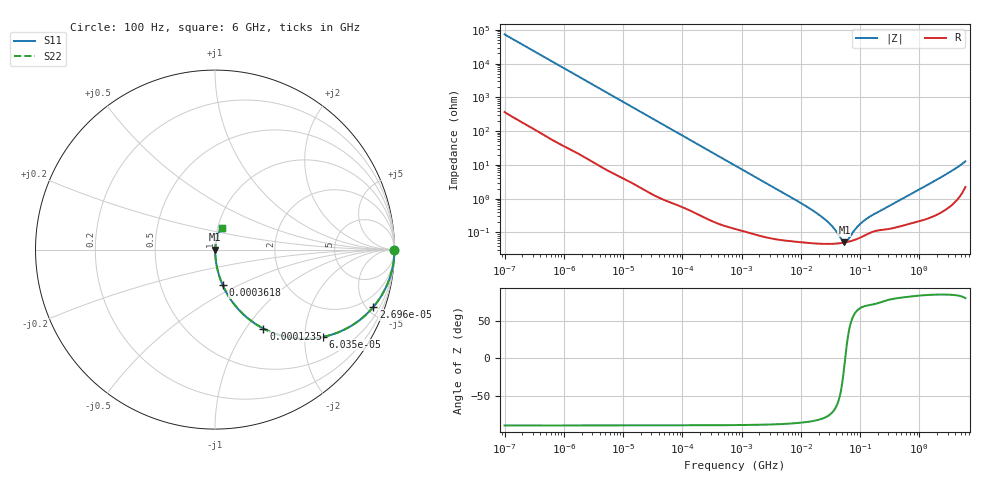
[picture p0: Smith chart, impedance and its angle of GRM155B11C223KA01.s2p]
!Murata Part Number: GRM155B11C223KA01
!These Parameters are Measured in Series Mode Connection
!Data Generated on Mar 30, 2021
!  o--ll--o
!Port1  Port2
!  o------o
!Operation Temp=25[degC], DC Bias Voltage=0[V]
!Freq. Start=100[Hz] Stop=6[GHz] 401[Steps]
# Hz S RI R 50
!Freq.(Hz) S11(Real) S11(Imag) S21(Real) S21(Imag) S12(Real) S12(Imag) S22(Real) S22(Imag)
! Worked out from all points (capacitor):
!   401 points, 100 Hz to 6 GHz, reference 50 ohm
!   read as one part in series: C = 21.8 nF near 109 Hz
!   lowest |Z| = 50.9 mohm at 54.5 MHz (marker M1)
!   series resonance near 56.17 MHz, so ESL is about 370 pH
!   S11 on the Smith chart (normalised r, x): 100 Hz: open; 26.96 kHz: 1.03, -5.52; 60.35 kHz: 1.02, -2.47; 123.5 kHz: 1.01, -1.21; 361.8 kHz: 1.00, -0.42; 6 GHz: 1.04, +0.25
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100  1 -0.00137  8.8e-06 0.00137  8.8e-06 0.00137  1 -0.00137
2008  0.9991 -0.0272  0.000881 0.0272  0.000881 0.0272  0.9991 -0.0272
8801  0.9855 -0.117  0.0145 0.117  0.0145 0.117  0.9855 -0.117
26957  0.8825 -0.3192  0.1175 0.3192  0.1175 0.3192  0.8825 -0.3192
40335  0.7718 -0.4168  0.2282 0.4168  0.2282 0.4168  0.7718 -0.4168
60352  0.6034 -0.486  0.3966 0.486  0.3966 0.486  0.6034 -0.486
86348  0.4283 -0.4912  0.5717 0.4912  0.5717 0.4912  0.4283 -0.4912
123542  0.2698 -0.4399  0.7302 0.4399  0.7302 0.4399  0.2698 -0.4399
202169  0.123 -0.3242  0.877 0.3242  0.877 0.3242  0.123 -0.3242
361830  0.0431 -0.1984  0.9569 0.1984  0.9569 0.1984  0.0431 -0.1984
774597  0.0106 -0.0962  0.9894 0.0962  0.9894 0.0962  0.0106 -0.0962
2481164  0.00166 -0.0305  0.9983 0.0305  0.9983 0.0305  0.00166 -0.0305
1.555665e7  0.000499 -0.00457  0.9995 0.00457  0.9995 0.00457  0.000499 -0.00457
3.045065e7  0.000461 -0.00179  0.9995 0.00179  0.9995 0.00179  0.000461 -0.00179
4.983056e7  0.000489 -0.000329  0.9995 0.000329  0.9995 0.000329  0.000489 -0.000329
5.449875e7  0.000502 -8.23e-05  0.9995 8.23e-05  0.9995 8.23e-05  0.000502 -8.23e-05
6.233367e7  0.000526 0.000286  0.9995 -0.000286  0.9995 -0.000286  0.000526 0.000286
8.527865e7  0.000624 0.00116  0.9994 -0.00116  0.9994 -0.00116  0.000624 0.00116
1.166697e8  0.0008 0.00208  0.9992 -0.00208  0.9992 -0.00208  0.0008 0.00208
3.124326e8  0.00131 0.006  0.9987 -0.006  0.9987 -0.006  0.00131 0.006
2.048624e9  0.00485 0.0375  0.9952 -0.0375  0.9952 -0.0375  0.00485 0.0375
6e9  0.0363 0.1186  0.9637 -0.1186  0.9637 -0.1186  0.0363 0.1186
